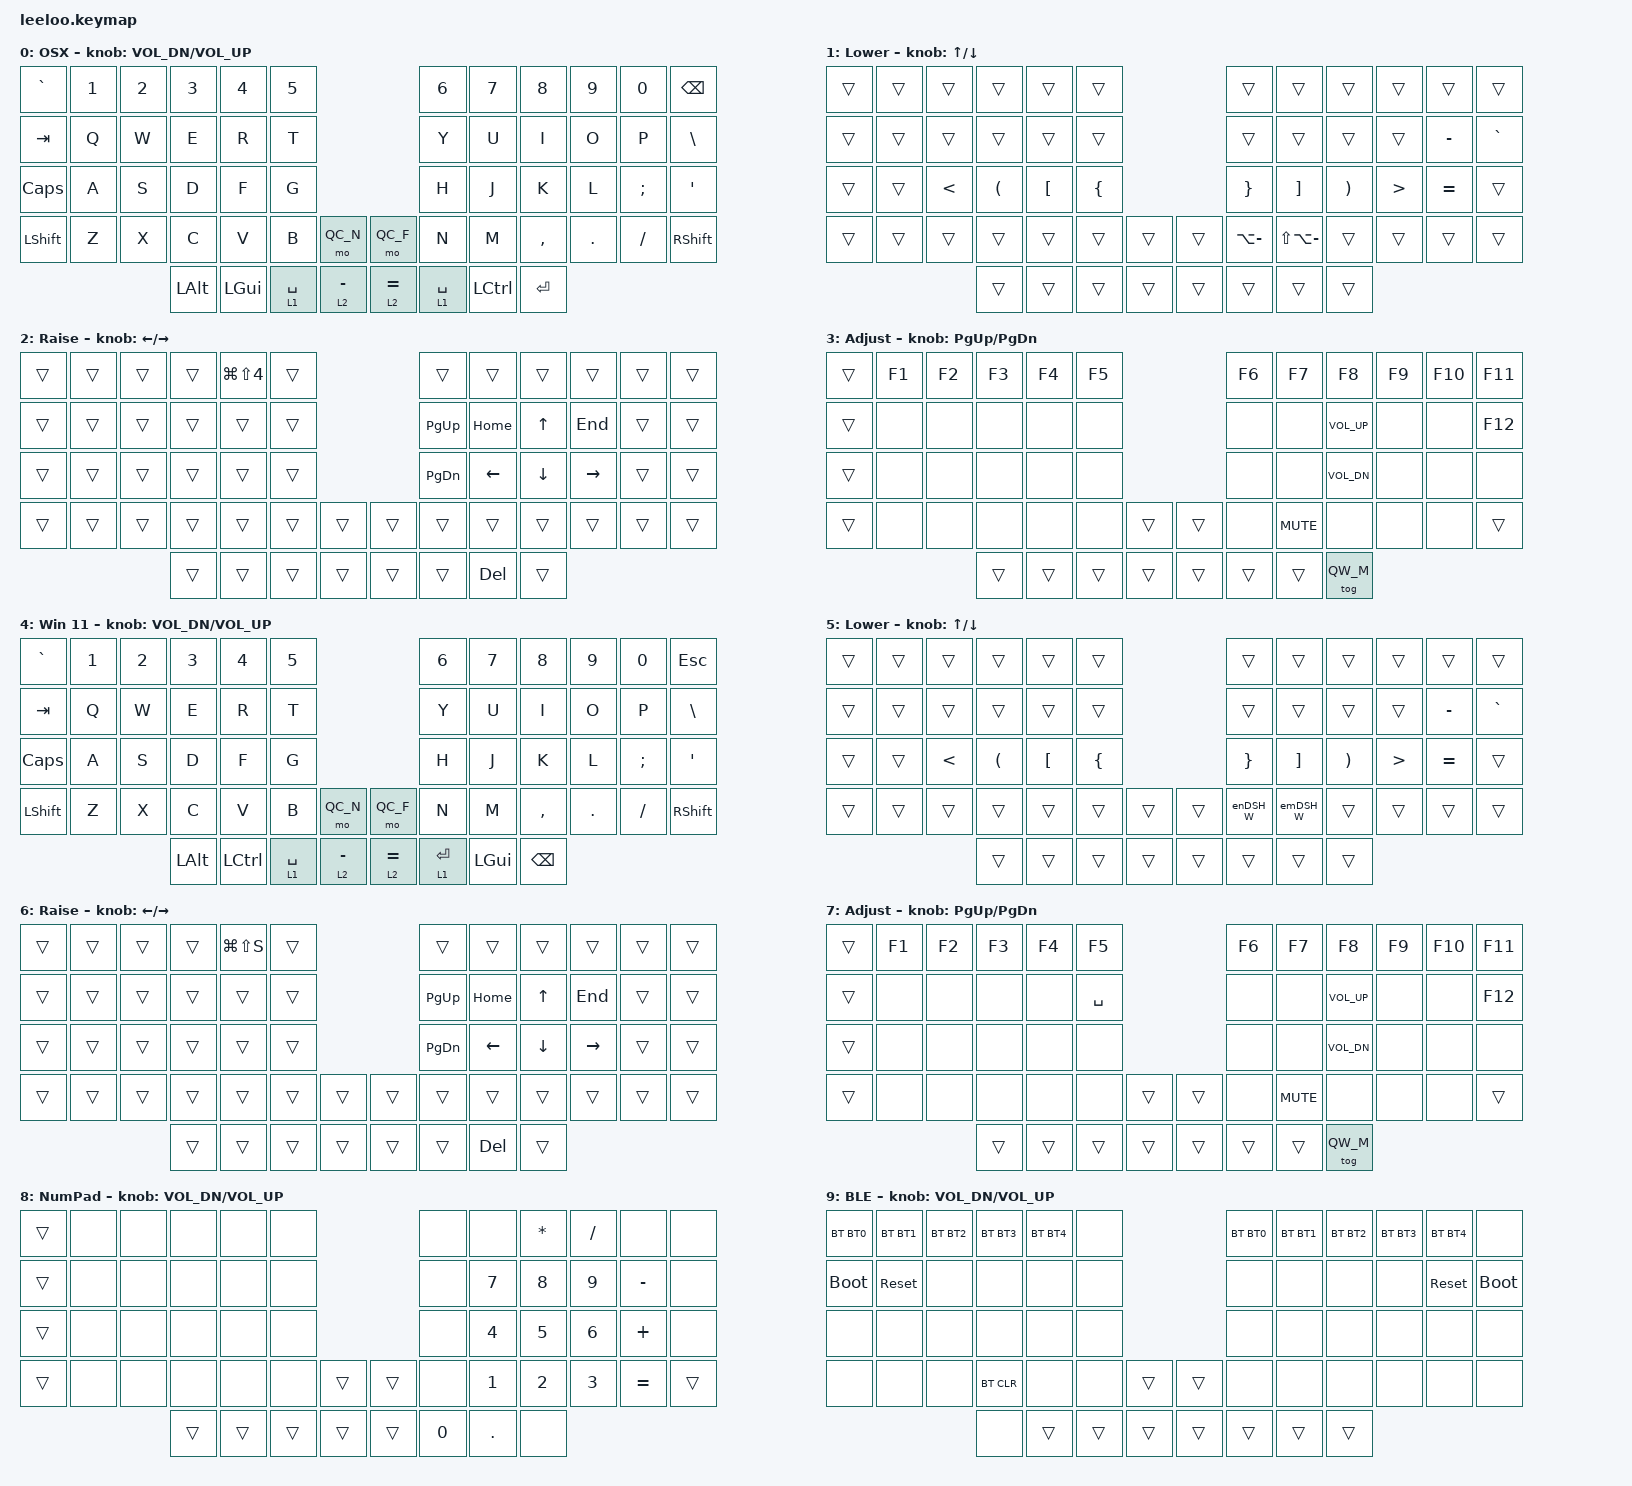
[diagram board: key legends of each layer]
/*
 * Copyright (c) 2020 The ZMK Contributors
 *
 * SPDX-License-Identifier: MIT
 */
#include <behaviors.dtsi>
#include <dt-bindings/zmk/outputs.h>
#include <dt-bindings/zmk/keys.h>
#include <dt-bindings/zmk/bt.h>


// Layers
#define QX_M    0       // Main
#define QX_L    1       // Lower
#define QX_R    2       // Raise
#define QX_A    3       // Adjust

#define QW_M    4       // Main
#define QW_L    5       // Lower
#define QW_R    6       // Raise
#define QW_A    7       // Adjust

#define QC_N    8       // Number Pad
#define QC_F    9       // Firmware


// Short versions
#define WIN_SC  LG(LS(S))
#define OSX_SC  LG(LS(N4))

#define enDSH_X LA(MINUS)
#define emDSH_X LS(LA(MINUS))

#define BT0     BT_SEL 0
#define BT1     BT_SEL 1
#define BT2     BT_SEL 2
#define BT3     BT_SEL 3
#define BT4     BT_SEL 4

#define VOLUP   C_VOL_UP
#define VOLDN   C_VOL_DN
#define VOLMT   C_MUTE


/* 
 * Assign the cs-gpios pin to 4.
 * Uncomment these next few lines if implementing nice!view Displays
 */
//nice_view_spi: &spi0 {
//	compatible = "nordic,nrf-spim";
//	pinctrl-0 = <&spi0_default>;
//	pinctrl-1 = <&spi0_sleep>;
//	pinctrl-names = "default", "sleep";
//	cs-gpios = <&pro_micro 4 GPIO_ACTIVE_HIGH>;
//};


// Rotary Encoder Resolution
//&left_encoder { resolution = <2>; };
//&right_encoder { resolution = <2>; };

/ {
    conditional_layers {
        compatible = "zmk,conditional-layers";
        adjust_win_layer {
            if-layers = <5 6>;
            then-layer = <7>;
        };
        
        adjust_osx_layer {
            if-layers = <1 2>;
            then-layer = <3>;
        };
    };


    combos {
        compatible = "zmk,combos";

        combo_quit_app_win {
            timeout-ms = <50>;
            key-positions = <13 14>;
            layers = <QW_M>;
            bindings = <&kp LA(F4)>;
        };
    };

    macros {
        enDSH_W: en_Dash {
            label = "enDSH_W";
            compatible = "zmk,behavior-macro";
            #binding-cells = <0>;
            wait-ms = <20>;
            tap-ms = <20>;
            bindings
                = <&macro_press   &kp LALT>
                , <&macro_tap     &kp KP_N0 &kp KP_N1 &kp KP_N5 &kp KP_N0>
                , <&macro_release &kp LALT>
                ;
        };

        emDSH_W: em_Dash {
            label = "emDSH_W";
            compatible = "zmk,behavior-macro";
            #binding-cells = <0>;
            wait-ms = <20>;
            tap-ms = <20>;
            bindings
                = <&macro_press   &kp LALT>
                , <&macro_tap     &kp KP_N0 &kp KP_N1 &kp KP_N5 &kp KP_N1>
                , <&macro_release &kp LALT>
                ;
        };
    };

    behaviors {
        tdw_Q: tap_dance_0 {
            compatible = "zmk,behavior-tap-dance";
            label = "WIN_QUIT";
            #binding-cells = <0>;
            tapping-term-ms = <200>;
            bindings = <&kp Q>, <&kp LA(F4)>;
        };

        tdx_Q: tap_dance_1 {
            compatible = "zmk,behavior-tap-dance";
            label = "OSX_QUIT";
            #binding-cells = <0>;
            tapping-term-ms = <200>;
            bindings = <&kp Q>, <&kp LG(Q)>;
        };
    };

    keymap {
        compatible = "zmk,keymap";

        default_osx_layer {
            label = " OSX";
            bindings = <
&kp GRAVE  &kp N1     &kp N2     &kp N3     &kp N4     &kp N5                           &kp N6     &kp N7     &kp N8     &kp N9     &kp N0     &kp BSPC
&kp TAB    &kp Q      &kp W      &kp E      &kp R      &kp T                            &kp Y      &kp U      &kp I      &kp O      &kp P      &kp BSLH
&kp CAPS   &kp A      &kp S      &kp D      &kp F      &kp G                            &kp H      &kp J      &kp K      &kp L      &kp SEMI   &kp SQT
&kp LSHFT  &kp Z      &kp X      &kp C      &kp V      &kp B    &mo QC_N     &mo QC_F   &kp N      &kp M      &kp COMMA  &kp DOT    &kp FSLH   &kp RSHFT
                            &kp LALT   &kp LGUI   &lt 1 SPACE   &lt 2 MINUS  &lt 2 EQUAL  &lt 1 SPACE  &kp LCTRL   &kp RET
            >;

            sensor-bindings = <&inc_dec_kp C_VOL_DN C_VOL_UP>;
        };

        lower_osx_layer {
            label = " Lower";
            bindings = <
&trans     &trans     &trans     &trans     &trans     &trans                           &trans      &trans      &trans     &trans     &trans     &trans
&trans     &trans     &trans     &trans     &trans     &trans                           &trans      &trans      &trans     &trans     &kp MINUS  &kp GRAV
&trans     &trans     &kp LT     &kp LPAR   &kp LBKT   &kp LBRC                         &kp RBRC    &kp RBKT    &kp RPAR   &kp GT     &kp EQUAL  &trans
&trans     &trans     &trans     &trans     &trans     &trans     &trans      &trans    &kp enDSH_X &kp emDSH_X &trans     &trans     &trans     &trans
                                 &trans     &trans     &trans     &trans      &trans    &trans      &trans     &trans
            >;

            sensor-bindings = <&inc_dec_kp UP DOWN>;
        };

        raise_osx_layer {
            label = " Raise";
            bindings = <
&trans     &trans     &trans     &trans     &kp OSX_SC &trans                           &trans     &trans     &trans     &trans     &trans     &trans
&trans     &trans     &trans     &trans     &trans     &trans                           &kp PG_UP  &kp HOME   &kp UP     &kp END    &trans     &trans
&trans     &trans     &trans     &trans     &trans     &trans                           &kp PG_DN  &kp LEFT   &kp DOWN   &kp RIGHT  &trans     &trans
&trans     &trans     &trans     &trans     &trans     &trans     &trans      &trans    &trans     &trans     &trans     &trans     &trans     &trans
                                 &trans     &trans     &trans     &trans      &trans    &trans     &kp DEL    &trans
            >;

            sensor-bindings = <&inc_dec_kp LEFT RIGHT>;
        };

        adjust_osx_layer {
            label = " Adjust";
            bindings = <
&trans     &kp F1     &kp F2     &kp F3     &kp F4     &kp F5                           &kp F6     &kp F7     &kp F8     &kp F9     &kp F10    &kp F11
&trans     &none      &none      &none      &none      &none                            &none      &none      &kp VOLUP  &none      &none      &kp F12
&trans     &none      &none      &none      &none      &none                            &none      &none      &kp VOLDN  &none      &none      &none 
&trans     &none      &none      &none      &none      &none      &trans      &trans    &none      &kp VOLMT  &none      &none      &none      &trans
                                 &trans     &trans     &trans     &trans      &trans    &trans     &trans     &tog QW_M
            >;

            sensor-bindings = <&inc_dec_kp PG_UP PG_DN>;
        };

        default_win_layer {
            label = " Win 11";
            bindings = <
&kp GRAVE  &kp N1     &kp N2     &kp N3     &kp N4     &kp N5                           &kp N6     &kp N7     &kp N8     &kp N9     &kp N0     &kp ESC
&kp TAB    &kp Q      &kp W      &kp E      &kp R      &kp T                            &kp Y      &kp U      &kp I      &kp O      &kp P      &kp BSLH
&kp CAPS   &kp A      &kp S      &kp D      &kp F      &kp G                            &kp H      &kp J      &kp K      &kp L      &kp SEMI   &kp SQT
&kp LSHFT  &kp Z      &kp X      &kp C      &kp V      &kp B    &mo QC_N     &mo QC_F   &kp N      &kp M      &kp COMMA  &kp DOT    &kp FSLH   &kp RSHFT
                            &kp LALT   &kp LCTRL   &lt 1 SPACE   &lt 2 MINUS  &lt 2 EQUAL  &lt 1 RET  &kp LGUI   &kp BSPC
            >;

            sensor-bindings = <&inc_dec_kp C_VOL_DN C_VOL_UP>;
        };

        lower_win_layer {
            label = " Lower";
            bindings = <
&trans     &trans     &trans     &trans     &trans     &trans                           &trans     &trans     &trans     &trans     &trans     &trans
&trans     &trans     &trans     &trans     &trans     &trans                           &trans     &trans     &trans     &trans     &kp MINUS  &kp GRAV
&trans     &trans     &kp LT     &kp LPAR   &kp LBKT   &kp LBRC                         &kp RBRC   &kp RBKT   &kp RPAR   &kp GT     &kp EQUAL  &trans
&trans     &trans     &trans     &trans     &trans     &trans     &trans      &trans    &enDSH_W   &emDSH_W   &trans     &trans     &trans     &trans
                                 &trans     &trans     &trans     &trans      &trans    &trans     &trans     &trans
            >;

            sensor-bindings = <&inc_dec_kp UP DOWN>;
        };

        raise_win_layer {
            label = " Raise";
            bindings = <
&trans     &trans     &trans     &trans     &kp WIN_SC &trans                           &trans     &trans     &trans     &trans     &trans     &trans
&trans     &trans     &trans     &trans     &trans     &trans                           &kp PG_UP  &kp HOME   &kp UP     &kp END    &trans     &trans
&trans     &trans     &trans     &trans     &trans     &trans                           &kp PG_DN  &kp LEFT   &kp DOWN   &kp RIGHT  &trans     &trans
&trans     &trans     &trans     &trans     &trans     &trans     &trans      &trans    &trans     &trans     &trans     &trans     &trans     &trans
                                 &trans     &trans     &trans     &trans      &trans    &trans     &kp DEL    &trans
            >;

            sensor-bindings = <&inc_dec_kp LEFT RIGHT>;
        };

        adjust_win_layer {
            label = " Adjust";
            bindings = <
&trans     &kp F1     &kp F2     &kp F3     &kp F4     &kp F5                           &kp F6     &kp F7     &kp F8     &kp F9     &kp F10    &kp F11
&trans     &none      &none      &none      &none      &kp SPACE                        &none      &none      &kp VOLUP  &none      &none      &kp F12
&trans     &none      &none      &none      &none      &none                            &none      &none      &kp VOLDN  &none      &none      &none 
&trans     &none      &none      &none      &none      &none      &trans      &trans    &none      &kp VOLMT  &none      &none      &none      &trans
                                 &trans     &trans     &trans     &trans      &trans    &trans     &trans     &tog QW_M
            >;

            sensor-bindings = <&inc_dec_kp PG_UP PG_DN>;
        };

        numpad_layer {
            label = " NumPad";
            bindings = <
&trans      &none     &none      &none      &none      &none                            &none      &none      &kp ASTRK  &kp SLASH  &none      &none 
&trans      &none     &none      &none      &none      &none                            &none      &kp N7     &kp N8     &kp N9     &kp MINUS  &none 
&trans      &none     &none      &none      &none      &none                            &none      &kp N4     &kp N5     &kp N6     &kp PLUS   &none 
&trans      &none     &none      &none      &none      &none      &trans      &trans    &none      &kp N1     &kp N2     &kp N3     &kp EQUAL  &trans
                                 &trans     &trans     &trans     &trans      &trans    &kp N0     &kp DOT    &none 
            >;

            sensor-bindings = <&inc_dec_kp C_VOL_DN C_VOL_UP>;
        };

        firmware_layer {
            label = " BLE";
            bindings = <
&bt BT0     &bt BT1    &bt BT2    &bt BT3    &bt BT4       &none                             &bt BT0        &bt BT1       &bt BT2    &bt BT3    &bt BT4    &none 
&bootloader &sys_reset &none      &none      &none         &none                             &none          &none         &none      &none      &sys_reset &bootloader
&none       &none      &none      &none      &none         &none                             &none          &none         &none      &none      &none      &none
&none       &none      &none      &bt BT_CLR &none         &none      &trans       &trans    &none          &none         &none      &none      &none      &none
                                  &none      &trans        &trans     &trans       &trans    &trans         &trans        &trans
            >;

            sensor-bindings = <&inc_dec_kp C_VOL_DN C_VOL_UP>;
        };
    };
};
